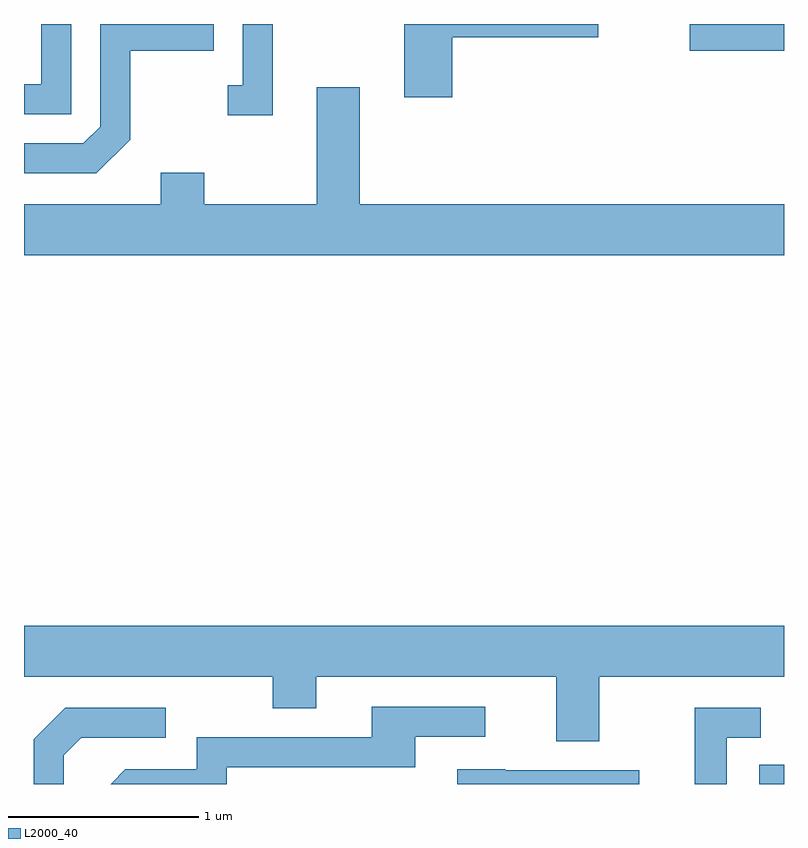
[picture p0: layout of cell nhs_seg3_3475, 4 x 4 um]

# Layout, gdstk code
import gdstk
lib = gdstk.Library(unit=1e-6, precision=1e-09)
def R(c, l, rs):  # rectangles x0, y0, x1, y1
    for r in rs: c.add(gdstk.rectangle(r[:2], r[2:], *l))
def P(c, l, *ps):  # polygons
    for p in ps: c.add(gdstk.Polygon(p, *l))
L2000_40 = (2000, 40)

nhs_seg3_3475 = lib.new_cell('nhs_seg3_3475')
R(nhs_seg3_3475, L2000_40, [(291.481,1129.892,291.611,1129.993), (291.116,1133.751,291.611,1133.892)])
P(nhs_seg3_3475, L2000_40, [(288.169,1133.284),(288.169,1133.751),(288.609,1133.751),(288.609,1133.892),(288.011,1133.892),(288.011,1133.352),(287.924,1133.264),(287.611,1133.264),(287.611,1133.106),(287.992,1133.106)],
  [(287.859,1133.892),(287.701,1133.892),(287.701,1133.574),(287.611,1133.574),(287.611,1133.416),(287.859,1133.416)],
  [(289.864,1133.821),(290.634,1133.821),(290.634,1133.892),(289.611,1133.892),(289.611,1133.506),(289.864,1133.506)],
  [(288.919,1133.892),(288.761,1133.892),(288.761,1133.569),(288.683,1133.569),(288.683,1133.411),(288.919,1133.411)],
  [(291.611,1132.944),(289.379,1132.944),(289.379,1133.559),(289.151,1133.559),(289.151,1132.944),(288.559,1132.944),(288.559,1133.109),(288.331,1133.109),(288.331,1132.944),(287.611,1132.944),(287.611,1132.676),(291.611,1132.676)],
  [(290.639,1130.456),(291.611,1130.456),(291.611,1130.724),(287.611,1130.724),(287.611,1130.456),(288.921,1130.456),(288.921,1130.291),(289.149,1130.291),(289.149,1130.456),(290.411,1130.456),(290.411,1130.116),(290.639,1130.116)],
  [(288.679,1129.981),(289.669,1129.981),(289.669,1130.141),(290.038,1130.141),(290.038,1130.299),(289.441,1130.299),(289.441,1130.139),(288.521,1130.139),(288.521,1129.969),(288.144,1129.969),(288.067,1129.892),(288.679,1129.892)],
  [(291.309,1130.136),(291.488,1130.136),(291.488,1130.294),(291.141,1130.294),(291.141,1129.892),(291.309,1129.892)],
  [(287.819,1130.044),(287.912,1130.136),(288.358,1130.136),(288.358,1130.294),(287.829,1130.294),(287.661,1130.127),(287.661,1129.892),(287.819,1129.892)],
  [(290.849,1129.964),(290.145,1129.964),(290.145,1129.969),(289.891,1129.969),(289.891,1129.892),(290.849,1129.892)])

lib.write_gds('nhs_seg3_3475.gds')
